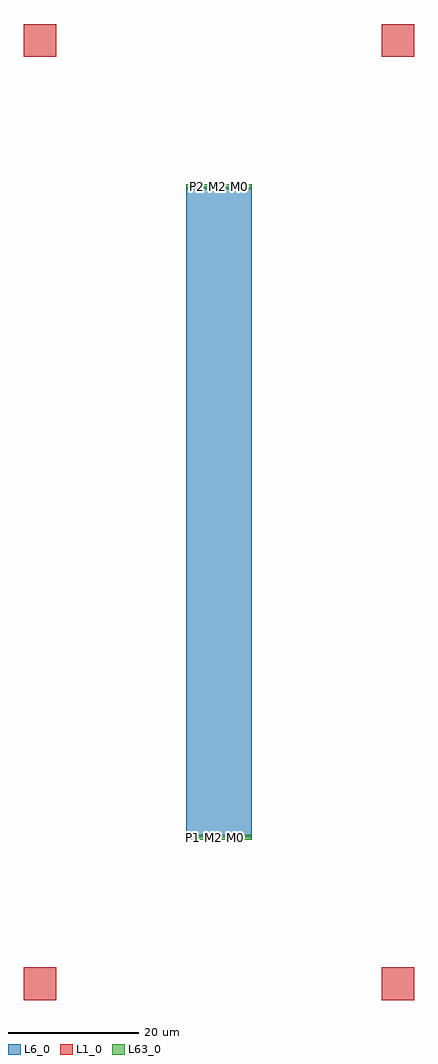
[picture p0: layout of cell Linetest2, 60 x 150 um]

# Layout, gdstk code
import gdstk
lib = gdstk.Library(unit=1e-6, precision=1e-09)
def R(c, l, rs):  # rectangles x0, y0, x1, y1
    for r in rs: c.add(gdstk.rectangle(r[:2], r[2:], *l))
L1_0 = (1, 0)
L6_0 = (6, 0)
L63_0 = (63, 0)

linetest2 = lib.new_cell('Linetest2')
R(linetest2, L1_0, [(-30,-75,-25,-70), (25,-75,30,-70), (-30,70,-25,75), (25,70,30,75)])
R(linetest2, L6_0, [(-5,-50,5,50)])
R(linetest2, L63_0, [(-5,-50.4,5,-49.6), (-5,49.6,5,50.4)])
linetest2.add(gdstk.Label('P1 M2 M0', (-0.5,-50), layer=64, texttype=0))
linetest2.add(gdstk.Label('P2 M2 M0', (0,50), layer=64, texttype=0))

lib.write_gds('Linetest2.gds')
